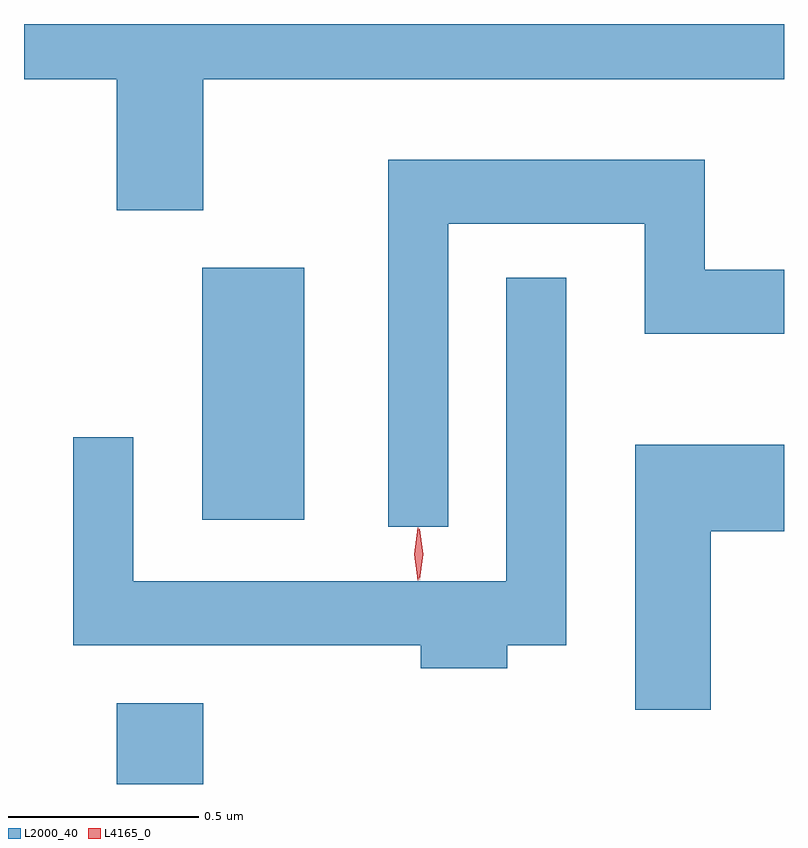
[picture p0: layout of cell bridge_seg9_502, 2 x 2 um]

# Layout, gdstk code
import gdstk
lib = gdstk.Library(unit=1e-6, precision=1e-09)
def R(c, l, rs):  # rectangles x0, y0, x1, y1
    for r in rs: c.add(gdstk.rectangle(r[:2], r[2:], *l))
def P(c, l, *ps):  # polygons
    for p in ps: c.add(gdstk.Polygon(p, *l))
L2000_40 = (2000, 40)
L4165_0 = (4165, 0)

bridge_seg9_502 = lib.new_cell('bridge_seg9_502')
R(bridge_seg9_502, L2000_40, [(564.321,1978.861,564.549,1979.074), (564.546,1979.556,564.814,1980.219)])
P(bridge_seg9_502, L2000_40, [(564.549,1980.716),(566.077,1980.716),(566.077,1980.861),(564.077,1980.861),(564.077,1980.716),(564.321,1980.716),(564.321,1980.371),(564.549,1980.371)],
  [(565.194,1980.336),(565.711,1980.336),(565.711,1980.046),(566.077,1980.046),(566.077,1980.214),(565.869,1980.214),(565.869,1980.504),(565.036,1980.504),(565.036,1979.538),(565.194,1979.538)],
  [(565.349,1979.226),(565.504,1979.226),(565.504,1980.193),(565.346,1980.193),(565.346,1979.394),(564.364,1979.394),(564.364,1979.773),(564.206,1979.773),(564.206,1979.226),(565.121,1979.226),(565.121,1979.166),(565.349,1979.166)],
  [(565.884,1979.526),(566.077,1979.526),(566.077,1979.754),(565.686,1979.754),(565.686,1979.056),(565.884,1979.056)])
P(bridge_seg9_502, L4165_0, [(565.113,1979.397),(565.104,1979.466),(565.113,1979.536),(565.114,1979.536),(565.114,1979.536),(565.124,1979.466),(565.114,1979.397),(565.114,1979.397)],
  [(565.118,1979.399),(565.118,1979.4),(565.108,1979.466),(565.117,1979.532),(565.118,1979.533),(565.118,1979.532),(565.128,1979.466),(565.118,1979.4)])

lib.write_gds('bridge_seg9_502.gds')
